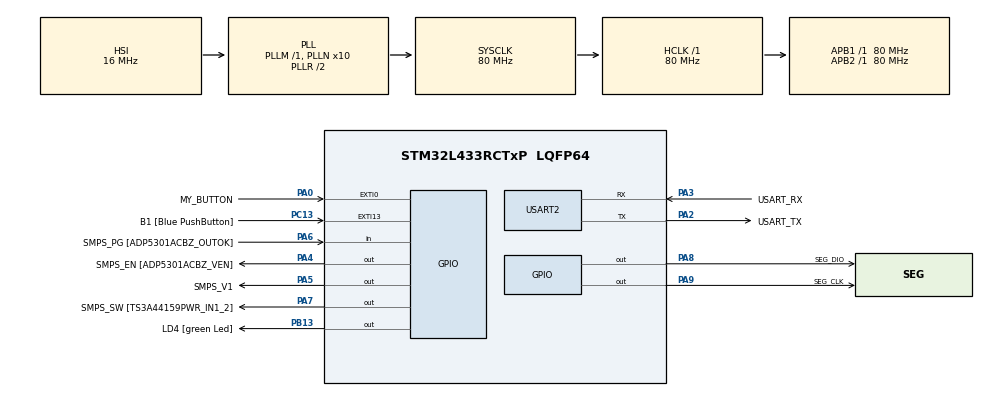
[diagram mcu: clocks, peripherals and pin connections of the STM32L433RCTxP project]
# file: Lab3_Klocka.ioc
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Mcu.Family=STM32L4
Mcu.Name=STM32L433RCTxP
Mcu.Package=LQFP64
NVIC.EXTI0_IRQn=true\:0\:0\:false\:false\:true\:true\:true\:true
NVIC.EXTI15_10_IRQn=true\:0\:0\:false\:false\:true\:true\:true\:true
NVIC.PriorityGroup=NVIC_PRIORITYGROUP_4
NVIC.TIM1_BRK_TIM15_IRQn=true\:0\:0\:false\:false\:true\:true\:true\:true
NVIC.TIM2_IRQn=true\:0\:0\:false\:false\:true\:true\:true\:true
PA0.GPIO_Label=MY_BUTTON
PA0.GPIO_ModeDefaultEXTI=GPIO_MODE_IT_FALLING
PA0.Signal=GPXTI0
PA13\ (JTMS-SWDIO).GPIO_Label=TMS
PA13\ (JTMS-SWDIO).Mode=Serial_Wire
PA13\ (JTMS-SWDIO).Signal=SYS_JTMS-SWDIO
PA14\ (JTCK-SWCLK).GPIO_Label=TCK
PA14\ (JTCK-SWCLK).Mode=Serial_Wire
PA14\ (JTCK-SWCLK).Signal=SYS_JTCK-SWCLK
PA2.GPIO_Label=USART_TX
PA2.GPIO_Mode=GPIO_MODE_AF_PP
PA2.GPIO_PuPd=GPIO_NOPULL
PA2.GPIO_Speed=GPIO_SPEED_FREQ_VERY_HIGH
PA2.Mode=Asynchronous
PA2.Signal=USART2_TX
PA3.GPIO_Label=USART_RX
PA3.GPIO_Mode=GPIO_MODE_AF_PP
PA3.GPIO_PuPd=GPIO_NOPULL
PA3.GPIO_Speed=GPIO_SPEED_FREQ_VERY_HIGH
PA3.Mode=Asynchronous
PA3.Signal=USART2_RX
PA4.GPIO_Label=SMPS_EN [ADP5301ACBZ_VEN]
PA4.Signal=GPIO_Output
PA5.GPIO_Label=SMPS_V1
PA5.GPIO_ModeDefaultOutputPP=GPIO_MODE_OUTPUT_PP
PA5.GPIO_PuPd=GPIO_NOPULL
PA5.GPIO_Speed=GPIO_SPEED_FREQ_LOW
PA5.Signal=GPIO_Output
PA6.GPIO_Label=SMPS_PG [ADP5301ACBZ_OUTOK]
PA6.GPIO_PuPd=GPIO_PULLUP
PA6.Signal=GPIO_Input
PA7.GPIO_Label=SMPS_SW [TS3A44159PWR_IN1_2]
PA7.Signal=GPIO_Output
PA8.GPIO_Label=SEG_DIO
PA8.GPIO_ModeDefaultOutputPP=GPIO_MODE_OUTPUT_OD
PA8.GPIO_PuPd=GPIO_NOPULL
PA8.Signal=GPIO_Output
PA9.GPIO_Label=SEG_CLK
PA9.Signal=GPIO_Output
PB13.GPIO_Label=LD4 [green Led]
PB13.Signal=GPIO_Output
PB3\ (JTDO-TRACESWO).GPIO_Label=SWO
PB3\ (JTDO-TRACESWO).Signal=SYS_JTDO-SWO
PC13.GPIO_Label=B1 [Blue PushButton]
PC13.GPIO_ModeDefaultEXTI=GPIO_MODE_IT_FALLING
PC13.GPIO_PuPd=GPIO_NOPULL
PC13.Signal=GPXTI13
PC14-OSC32_IN\ (PC14).Mode=LSE-External-Oscillator
PC14-OSC32_IN\ (PC14).Signal=RCC_OSC32_IN
PC15-OSC32_OUT\ (PC15).Mode=LSE-External-Oscillator
PC15-OSC32_OUT\ (PC15).Signal=RCC_OSC32_OUT
PH0-OSC_IN\ (PH0).GPIO_Label=MCO
PH0-OSC_IN\ (PH0).Mode=HSE-External-Clock-Source
PH0-OSC_IN\ (PH0).Signal=RCC_OSC_IN
PH1-OSC_OUT\ (PH1).Signal=RCC_OSC_OUT
ProjectManager.HeapSize=0x200
ProjectManager.StackSize=0x400
ProjectManager.TargetToolchain=STM32CubeIDE
RCC.ADCFreq_Value=64000000
RCC.AHBFreq_Value=80000000
RCC.APB1Freq_Value=80000000
RCC.APB1TimFreq_Value=80000000
RCC.APB2Freq_Value=80000000
RCC.APB2TimFreq_Value=80000000
RCC.CortexFreq_Value=80000000
RCC.HCLKFreq_Value=80000000
RCC.HSE_VALUE=8000000
RCC.HSI48_VALUE=48000000
RCC.HSI_VALUE=16000000
RCC.MSI_VALUE=4000000
RCC.PLLN=10
RCC.PLLSourceVirtual=RCC_PLLSOURCE_HSI
RCC.PREFETCH_ENABLE=1
RCC.SYSCLKFreq_VALUE=80000000
RCC.SYSCLKSource=RCC_SYSCLKSOURCE_PLLCLK
RCC.USBFreq_Value=64000000
RCC.VCOOutputFreq_Value=160000000
TIM15.Period=4999
TIM15.Prescaler=7999
TIM2.Period=(500-1)
TIM2.Prescaler=(8000-1)
USART2.VirtualMode-Asynchronous=VM_ASYNC
VP_TIM15_VS_ClockSourceINT.Mode=Internal
VP_TIM2_VS_ClockSourceINT.Mode=Internal
board=NUCLEO-L433RC-P

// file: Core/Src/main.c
/* USER CODE BEGIN Header */
/**
 ******************************************************************************
 * @file           : main.c
 * @brief          : Main program body
 ******************************************************************************
 * @attention
 *
 * Copyright (c) 2025 STMicroelectronics.
 * All rights reserved.
 *
 * This software is licensed under terms that can be found in the LICENSE file
 * in the root directory of this software component.
 * If no LICENSE file comes with this software, it is provided AS-IS.
 *
 ******************************************************************************
 */
/* USER CODE END Header */
#include "main.h"

/* USER CODE BEGIN Includes */
#include "quad_sseg.h"
#include <stdio.h>
/* USER CODE END Includes */

TIM_HandleTypeDef htim2;
TIM_HandleTypeDef htim15;

UART_HandleTypeDef huart2;

/* USER CODE BEGIN PV */
uint8_t  clock_seconds, clock_minutes, clock_hours;
uint16_t button_debounced_count;
uint16_t button_exti_count;
uint8_t  unhandled_exti;
uint8_t  colon_ind;

/* USER CODE END PV */

void SystemClock_Config(void);
static void MX_GPIO_Init(void);
static void MX_USART2_UART_Init(void);
static void MX_TIM2_Init(void);
static void MX_TIM15_Init(void);

/* USER CODE BEGIN 0 */

void uart_print_menu(){
	char str[150] = {'\0'};
	uint16_t str_len;
	int one = 1;
	int two = 2;

	str_len = sprintf(str,
	"\n\r\n<> Welcome to the Clock menu! <>\r\n"
	"     Choose your destiny:: \n\r\n"
	"\t%d: Clock Mode.\r\n\t%d: Button mode.\r\n",one,two);

	HAL_UART_Transmit(&huart2, (uint8_t*) str, str_len, HAL_MAX_DELAY);
}

int uart_get_menu_choice(){
	char str[1] = {'\0'};
	uint16_t str_len = 1;
	HAL_UART_Receive(&huart2,
			(uint8_t*) str,
			str_len,
			HAL_MAX_DELAY);
	int ret = -1;
	sscanf(str, "%d", &ret);
	return ret;
}

void uart_print_bad_choice(){
	char str[81] = {'\0'};
	uint16_t str_len;

	str_len = sprintf(str,"Invalid choice, please choose from menu (1/2)\n\n");
	HAL_UART_Transmit(&huart2, (uint8_t*) str, str_len, HAL_MAX_DELAY);
}

void uart_print_choice(uint8_t choice){
	char str[81] = {'\0'};
	uint16_t str_len;

	switch(choice){

	case 1:
		str_len = sprintf(str,"\n      Welcome to Button mode! \r\n\n");
		break;
	case 2:
		str_len = sprintf(str,"\n      Welcome to Clock mode! \r\n\n");
		break;

	default:
		uart_print_bad_choice();
		break;
	}
	HAL_UART_Transmit(&huart2, (uint8_t*) str, str_len, HAL_MAX_DELAY);
}

void clock_mode(){
	/** init segment **/
	uart_print_choice(2);
	colon_ind = 0;
	clock_hours = 23;
	clock_minutes = 59;
	clock_seconds = 45;
	int d0,d1,d2,d3,d4,d5;
	qs_put_digits(5,9,4,5,1);

	__HAL_TIM_SET_COUNTER(&htim15, 0);
	HAL_TIM_Base_Start_IT(&htim15);

	/**main loop**/
	while(1){

		d0 = clock_hours   / 10;
		d1 = clock_hours   % 10;
		d2 = clock_minutes / 10;
		d3 = clock_minutes % 10;
		d4 = clock_seconds / 10;
		d5 = clock_seconds % 10;

		if(HAL_GPIO_ReadPin(B1_GPIO_Port, B1_Pin)){
			if(colon_ind)
				qs_put_digits(d0,d1,d2,d3,1);
			else
				qs_put_digits(d0,d1,d2,d3,0);
		}
		else{
			if(colon_ind)
				qs_put_digits(d2,d3,d4,d5,1);
			else
				qs_put_digits(d2,d3,d4,d5,0);
		}
	}
}

void button_mode(){
	/** init segment **/
	uart_print_choice(1);
	qs_put_big_num(0);
	/**main loop**/

#if 0
	int pressed = 0;

	while(1){
		if(1){
			button_debounced_count = button_exti_count;
		}
		pressed = GPIO_PIN_RESET
				== HAL_GPIO_ReadPin(MY_BUTTON_GPIO_Port, MY_BUTTON_Pin);
		qs_put_big_num(pressed ? button_exti_count : button_debounced_count);
	}

#else

	while(1){
		if(unhandled_exti){
			button_debounced_count++;
			unhandled_exti = 0;
		}

		if(HAL_GPIO_ReadPin(B1_GPIO_Port, B1_Pin) == 1){
			qs_put_big_num(button_exti_count);
		}else{
			qs_put_big_num(button_debounced_count);
		}
	}

#endif
}

void HAL_GPIO_EXTI_Callback(uint16_t GPIO_Pin){

	if(GPIO_Pin == MY_BUTTON_Pin){
		++button_exti_count;
		HAL_NVIC_DisableIRQ(EXTI0_IRQn);
		__HAL_TIM_SET_COUNTER(&htim2, 0);
		HAL_TIM_Base_Start_IT(&htim2);

	}
}

void HAL_TIM_PeriodElapsedCallback(TIM_HandleTypeDef *htim){

	if(htim->Instance == TIM2){
		HAL_TIM_Base_Stop_IT(&htim2);
		if(HAL_GPIO_ReadPin(MY_BUTTON_GPIO_Port, MY_BUTTON_Pin) == GPIO_PIN_RESET)
			unhandled_exti = 1;

		HAL_NVIC_EnableIRQ(EXTI0_IRQn);
	}

	if(htim->Instance == TIM15){
	//colon_ind  = !colon_ind;//
		colon_ind ^= 1;

		if(colon_ind){
			++clock_seconds;
			if(clock_seconds == 60){
				clock_seconds = 0;
				++clock_minutes;

				if(clock_minutes == 60){
					clock_minutes = 0;
					++clock_hours;

					if(clock_hours == 24)
						clock_hours = 0;
				}
			}
		}
	}
}

/* USER CODE END 0 */

int main(void)
{

  /* MCU Configuration--------------------------------------------------------*/

  /* Reset of all peripherals, Initializes the Flash interface and the Systick. */
  HAL_Init();

  /* Configure the system clock */
  SystemClock_Config();

  /* Initialize all configured peripherals */
  MX_GPIO_Init();
  MX_USART2_UART_Init();
  MX_TIM2_Init();
  MX_TIM15_Init();
  /* USER CODE BEGIN 2 */

  for(int i = 0; i < 10; i++){
	  uint32_t dly = 10;
	  qs_put_big_num(i);			  HAL_Delay(dly);
	  qs_put_digits(i,i,i,i, 0);      HAL_Delay(dly);
	  qs_put_digits(i,i,i,i, 1);	  HAL_Delay(dly);
  }
  HAL_Delay(100);

  /* USER CODE END 2 */

  /* Infinite loop */
  /* USER CODE BEGIN WHILE */
	while (1)
	{
		uart_print_menu();
		int menu_choice = uart_get_menu_choice();
		switch(menu_choice){

		case 1: 			  clock_mode();		break;
		case 2: 	  		 button_mode();		break;
		default:   uart_print_bad_choice();		break;
		}
    /* USER CODE END WHILE */

	}
}

void SystemClock_Config(void)
{
  RCC_OscInitTypeDef RCC_OscInitStruct = {0};
  RCC_ClkInitTypeDef RCC_ClkInitStruct = {0};

  /** Configure the main internal regulator output voltage
  */
  if (HAL_PWREx_ControlVoltageScaling(PWR_REGULATOR_VOLTAGE_SCALE1) != HAL_OK)
  {
    Error_Handler();
  }

  /** Initializes the RCC Oscillators according to the specified parameters
  * in the RCC_OscInitTypeDef structure.
  */
  RCC_OscInitStruct.OscillatorType = RCC_OSCILLATORTYPE_HSI;
  RCC_OscInitStruct.HSIState = RCC_HSI_ON;
  RCC_OscInitStruct.HSICalibrationValue = RCC_HSICALIBRATION_DEFAULT;
  RCC_OscInitStruct.PLL.PLLState = RCC_PLL_ON;
  RCC_OscInitStruct.PLL.PLLSource = RCC_PLLSOURCE_HSI;
  RCC_OscInitStruct.PLL.PLLM = 1;
  RCC_OscInitStruct.PLL.PLLN = 10;
  RCC_OscInitStruct.PLL.PLLP = RCC_PLLP_DIV7;
  RCC_OscInitStruct.PLL.PLLQ = RCC_PLLQ_DIV2;
  RCC_OscInitStruct.PLL.PLLR = RCC_PLLR_DIV2;
  if (HAL_RCC_OscConfig(&RCC_OscInitStruct) != HAL_OK)
  {
    Error_Handler();
  }

  /** Initializes the CPU, AHB and APB buses clocks
  */
  RCC_ClkInitStruct.ClockType = RCC_CLOCKTYPE_HCLK|RCC_CLOCKTYPE_SYSCLK
                              |RCC_CLOCKTYPE_PCLK1|RCC_CLOCKTYPE_PCLK2;
  RCC_ClkInitStruct.SYSCLKSource = RCC_SYSCLKSOURCE_PLLCLK;
  RCC_ClkInitStruct.AHBCLKDivider = RCC_SYSCLK_DIV1;
  RCC_ClkInitStruct.APB1CLKDivider = RCC_HCLK_DIV1;
  RCC_ClkInitStruct.APB2CLKDivider = RCC_HCLK_DIV1;

  if (HAL_RCC_ClockConfig(&RCC_ClkInitStruct, FLASH_LATENCY_4) != HAL_OK)
  {
    Error_Handler();
  }
}

static void MX_TIM2_Init(void)
{

  TIM_ClockConfigTypeDef sClockSourceConfig = {0};
  TIM_MasterConfigTypeDef sMasterConfig = {0};

  htim2.Instance = TIM2;
  htim2.Init.Prescaler = (8000-1);
  htim2.Init.CounterMode = TIM_COUNTERMODE_UP;
  htim2.Init.Period = (500-1);
  htim2.Init.ClockDivision = TIM_CLOCKDIVISION_DIV1;
  htim2.Init.AutoReloadPreload = TIM_AUTORELOAD_PRELOAD_DISABLE;
  if (HAL_TIM_Base_Init(&htim2) != HAL_OK)
  {
    Error_Handler();
  }
  sClockSourceConfig.ClockSource = TIM_CLOCKSOURCE_INTERNAL;
  if (HAL_TIM_ConfigClockSource(&htim2, &sClockSourceConfig) != HAL_OK)
  {
    Error_Handler();
  }
  sMasterConfig.MasterOutputTrigger = TIM_TRGO_RESET;
  sMasterConfig.MasterSlaveMode = TIM_MASTERSLAVEMODE_DISABLE;
  if (HAL_TIMEx_MasterConfigSynchronization(&htim2, &sMasterConfig) != HAL_OK)
  {
    Error_Handler();
  }

}

static void MX_TIM15_Init(void)
{

  TIM_ClockConfigTypeDef sClockSourceConfig = {0};
  TIM_MasterConfigTypeDef sMasterConfig = {0};

  htim15.Instance = TIM15;
  htim15.Init.Prescaler = 7999;
  htim15.Init.CounterMode = TIM_COUNTERMODE_UP;
  htim15.Init.Period = 4999;
  htim15.Init.ClockDivision = TIM_CLOCKDIVISION_DIV1;
  htim15.Init.RepetitionCounter = 0;
  htim15.Init.AutoReloadPreload = TIM_AUTORELOAD_PRELOAD_DISABLE;
  if (HAL_TIM_Base_Init(&htim15) != HAL_OK)
  {
    Error_Handler();
  }
  sClockSourceConfig.ClockSource = TIM_CLOCKSOURCE_INTERNAL;
  if (HAL_TIM_ConfigClockSource(&htim15, &sClockSourceConfig) != HAL_OK)
  {
    Error_Handler();
  }
  sMasterConfig.MasterOutputTrigger = TIM_TRGO_RESET;
  sMasterConfig.MasterSlaveMode = TIM_MASTERSLAVEMODE_DISABLE;
  if (HAL_TIMEx_MasterConfigSynchronization(&htim15, &sMasterConfig) != HAL_OK)
  {
    Error_Handler();
  }

}

static void MX_USART2_UART_Init(void)
{

  huart2.Instance = USART2;
  huart2.Init.BaudRate = 115200;
  huart2.Init.WordLength = UART_WORDLENGTH_8B;
  huart2.Init.StopBits = UART_STOPBITS_1;
  huart2.Init.Parity = UART_PARITY_NONE;
  huart2.Init.Mode = UART_MODE_TX_RX;
  huart2.Init.HwFlowCtl = UART_HWCONTROL_NONE;
  huart2.Init.OverSampling = UART_OVERSAMPLING_16;
  huart2.Init.OneBitSampling = UART_ONE_BIT_SAMPLE_DISABLE;
  huart2.AdvancedInit.AdvFeatureInit = UART_ADVFEATURE_NO_INIT;
  if (HAL_UART_Init(&huart2) != HAL_OK)
  {
    Error_Handler();
  }

}

static void MX_GPIO_Init(void)
{
  GPIO_InitTypeDef GPIO_InitStruct = {0};

  /* GPIO Ports Clock Enable */
  __HAL_RCC_GPIOC_CLK_ENABLE();
  __HAL_RCC_GPIOH_CLK_ENABLE();
  __HAL_RCC_GPIOA_CLK_ENABLE();
  __HAL_RCC_GPIOB_CLK_ENABLE();

  /*Configure GPIO pin Output Level */
  HAL_GPIO_WritePin(GPIOA, SMPS_EN_Pin|SMPS_V1_Pin|SMPS_SW_Pin|SEG_DIO_Pin
                          |SEG_CLK_Pin, GPIO_PIN_RESET);

  /*Configure GPIO pin Output Level */
  HAL_GPIO_WritePin(LD4_GPIO_Port, LD4_Pin, GPIO_PIN_RESET);

  /*Configure GPIO pin : B1_Pin */
  GPIO_InitStruct.Pin = B1_Pin;
  GPIO_InitStruct.Mode = GPIO_MODE_IT_FALLING;
  GPIO_InitStruct.Pull = GPIO_NOPULL;
  HAL_GPIO_Init(B1_GPIO_Port, &GPIO_InitStruct);

  /*Configure GPIO pin : MY_BUTTON_Pin */
  GPIO_InitStruct.Pin = MY_BUTTON_Pin;
  GPIO_InitStruct.Mode = GPIO_MODE_IT_FALLING;
  GPIO_InitStruct.Pull = GPIO_NOPULL;
  HAL_GPIO_Init(MY_BUTTON_GPIO_Port, &GPIO_InitStruct);

  /*Configure GPIO pins : SMPS_EN_Pin SMPS_V1_Pin SMPS_SW_Pin SEG_CLK_Pin */
  GPIO_InitStruct.Pin = SMPS_EN_Pin|SMPS_V1_Pin|SMPS_SW_Pin|SEG_CLK_Pin;
  GPIO_InitStruct.Mode = GPIO_MODE_OUTPUT_PP;
  GPIO_InitStruct.Pull = GPIO_NOPULL;
  GPIO_InitStruct.Speed = GPIO_SPEED_FREQ_LOW;
  HAL_GPIO_Init(GPIOA, &GPIO_InitStruct);

  /*Configure GPIO pin : SMPS_PG_Pin */
  GPIO_InitStruct.Pin = SMPS_PG_Pin;
  GPIO_InitStruct.Mode = GPIO_MODE_INPUT;
  GPIO_InitStruct.Pull = GPIO_PULLUP;
  HAL_GPIO_Init(SMPS_PG_GPIO_Port, &GPIO_InitStruct);

  /*Configure GPIO pin : LD4_Pin */
  GPIO_InitStruct.Pin = LD4_Pin;
  GPIO_InitStruct.Mode = GPIO_MODE_OUTPUT_PP;
  GPIO_InitStruct.Pull = GPIO_NOPULL;
  GPIO_InitStruct.Speed = GPIO_SPEED_FREQ_LOW;
  HAL_GPIO_Init(LD4_GPIO_Port, &GPIO_InitStruct);

  /*Configure GPIO pin : SEG_DIO_Pin */
  GPIO_InitStruct.Pin = SEG_DIO_Pin;
  GPIO_InitStruct.Mode = GPIO_MODE_OUTPUT_OD;
  GPIO_InitStruct.Pull = GPIO_NOPULL;
  GPIO_InitStruct.Speed = GPIO_SPEED_FREQ_LOW;
  HAL_GPIO_Init(SEG_DIO_GPIO_Port, &GPIO_InitStruct);

  /* EXTI interrupt init*/
  HAL_NVIC_SetPriority(EXTI0_IRQn, 0, 0);
  HAL_NVIC_EnableIRQ(EXTI0_IRQn);

  HAL_NVIC_SetPriority(EXTI15_10_IRQn, 0, 0);
  HAL_NVIC_EnableIRQ(EXTI15_10_IRQn);

}

void Error_Handler(void)
{
	__disable_irq();
	while (1)
	{
	}
}
